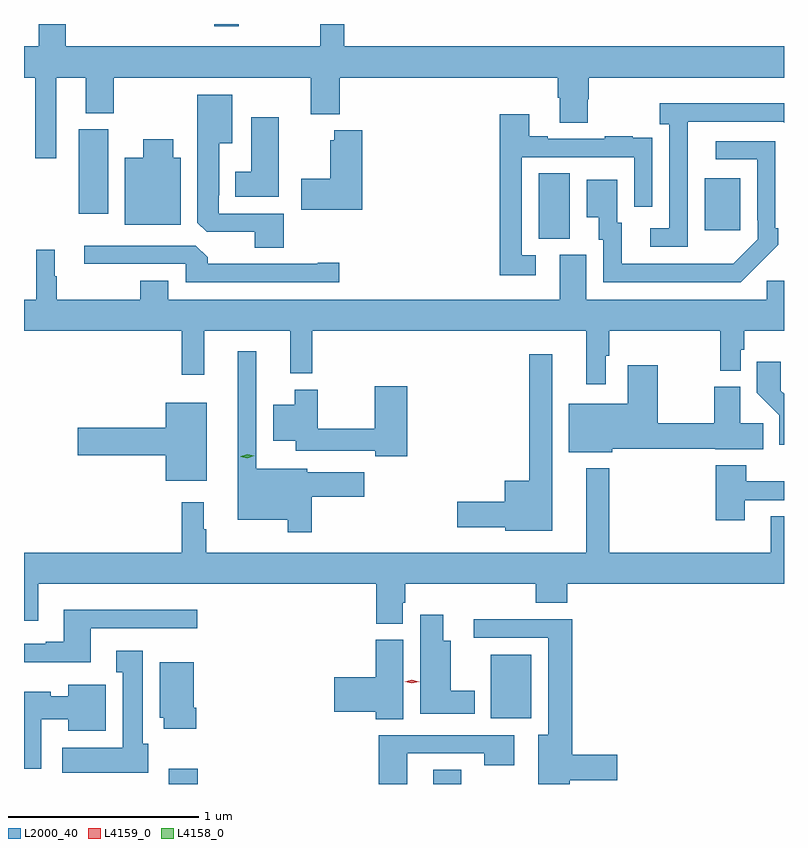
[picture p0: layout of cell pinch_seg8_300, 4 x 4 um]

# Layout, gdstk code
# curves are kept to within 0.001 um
import gdstk
lib = gdstk.Library(unit=1e-6, precision=1e-09)
def R(c, l, rs):  # rectangles x0, y0, x1, y1
    for r in rs: c.add(gdstk.rectangle(r[:2], r[2:], *l))
def P(c, l, *ps):  # polygons
    for p in ps: c.add(gdstk.Polygon(p, *l))
L2000_40 = (2000, 40)
L4158_0 = (4158, 0)
L4159_0 = (4159, 0)

pinch_seg8_300 = lib.new_cell('pinch_seg8_300')
R(pinch_seg8_300, L2000_40, [(514.799,1144.75,514.952,1144.831), (516.191,1144.75,516.339,1144.826), (516.494,1145.096,516.706,1145.431), (516.746,1147.621,516.91,1147.964), (517.619,1147.665,517.807,1147.939), (514.325,1147.752,514.48,1148.196), (515.038,1148.739,515.167,1148.75)])
P(pinch_seg8_300, L2000_40, [(514.207,1148.468),(514.361,1148.468),(514.361,1148.281),(514.509,1148.281),(514.509,1148.468),(515.546,1148.468),(515.546,1148.276),(515.699,1148.276),(515.699,1148.468),(516.845,1148.468),(516.845,1148.362),(516.857,1148.362),(516.857,1148.23),(517.005,1148.23),(517.005,1148.355),(517.01,1148.355),(517.01,1148.468),(518.037,1148.468),(518.037,1148.632),(515.723,1148.632),(515.723,1148.75),(515.595,1148.75),(515.595,1148.632),(514.256,1148.632),(514.256,1148.75),(514.115,1148.75),(514.115,1148.632),(514.037,1148.632),(514.037,1148.468),(514.097,1148.468),(514.097,1148.043),(514.207,1148.043)],
  [(515.405,1147.752),(515.061,1147.752),(515.061,1147.849),(515.065,1147.849),(515.065,1148.123),(515.134,1148.123),(515.134,1148.377),(514.949,1148.377),(514.949,1147.705),(514.998,1147.656),(515.252,1147.656),(515.252,1147.573),(515.405,1147.573)],
  [(517.53,1148.035),(517.531,1148.235),(518.031,1148.235),(518.037,1148.229),(518.037,1148.332),(517.383,1148.332),(517.383,1148.222),(517.434,1148.222),(517.434,1147.674),(517.332,1147.674),(517.332,1147.578),(517.53,1147.578)],
  [(516.73,1147.533),(516.657,1147.533),(516.657,1148.049),(517.248,1148.049),(517.248,1147.788),(517.344,1147.788),(517.344,1148.042),(517.343,1148.042),(517.343,1148.151),(517.241,1148.151),(517.241,1148.158),(517.093,1148.158),(517.093,1148.145),(516.793,1148.145),(516.793,1148.158),(516.697,1148.158),(516.697,1148.275),(516.541,1148.275),(516.541,1147.428),(516.73,1147.428)],
  [(515.377,1148.26),(515.234,1148.26),(515.234,1147.972),(515.15,1147.972),(515.15,1147.841),(515.377,1147.841)],
  [(515.816,1148.191),(515.671,1148.191),(515.671,1148.137),(515.648,1148.137),(515.648,1147.935),(515.496,1147.935),(515.496,1147.772),(515.816,1147.772)],
  [(514.861,1148.047),(514.822,1148.047),(514.822,1148.143),(514.664,1148.143),(514.664,1148.047),(514.568,1148.047),(514.568,1147.694),(514.861,1147.694)],
  [(517.901,1147.483),(517.902,1147.482),(518.007,1147.587),(518.007,1147.675),(517.992,1147.675),(517.992,1148.133),(517.677,1148.133),(517.677,1148.037),(517.896,1148.037),(517.896,1147.717),(517.899,1147.717),(517.899,1147.617),(517.77,1147.489),(517.183,1147.488),(517.183,1147.704),(517.159,1147.704),(517.159,1147.93),(516.998,1147.93),(516.998,1147.733),(517.061,1147.733),(517.061,1147.614),(517.086,1147.614),(517.086,1147.392),(517.81,1147.392)],
  [(515.695,1147.493),(515.582,1147.493),(515.582,1147.488),(515.003,1147.488),(515.003,1147.522),(514.941,1147.584),(514.353,1147.584),(514.353,1147.488),(514.887,1147.488),(514.887,1147.392),(515.695,1147.392)],
  [(517.099,1147.004),(517.117,1147.004),(517.117,1147.136),(517.701,1147.136),(517.701,1146.926),(517.809,1146.926),(517.809,1147.035),(517.829,1147.035),(517.829,1147.136),(518.037,1147.136),(518.037,1147.398),(517.947,1147.398),(517.947,1147.3),(516.997,1147.3),(516.997,1147.536),(516.857,1147.536),(516.857,1147.3),(514.795,1147.3),(514.795,1147.399),(514.648,1147.399),(514.648,1147.3),(514.21,1147.3),(514.21,1147.422),(514.198,1147.422),(514.198,1147.561),(514.101,1147.561),(514.101,1147.3),(514.037,1147.3),(514.037,1147.136),(514.867,1147.136),(514.867,1146.903),(514.985,1146.903),(514.985,1147.136),(515.438,1147.136),(515.438,1146.911),(515.555,1146.911),(515.555,1147.136),(516.995,1147.136),(516.995,1146.855),(517.099,1146.855)],
  [(515.552,1146.262),(515.827,1146.262),(515.827,1146.391),(515.529,1146.391),(515.529,1146.409),(515.259,1146.409),(515.259,1147.027),(515.162,1147.027),(515.162,1146.14),(515.424,1146.14),(515.424,1146.075),(515.552,1146.075)],
  [(516.817,1147.012),(516.696,1147.012),(516.696,1146.346),(516.566,1146.346),(516.566,1146.236),(516.318,1146.236),(516.318,1146.101),(516.57,1146.101),(516.57,1146.083),(516.817,1146.083)],
  [(518.037,1146.804),(518.02,1146.821),(518.02,1146.973),(517.894,1146.973),(517.894,1146.81),(518.013,1146.691),(518.013,1146.536),(518.037,1146.536)],
  [(517.132,1146.514),(517.674,1146.514),(517.674,1146.512),(517.928,1146.512),(517.928,1146.65),(517.807,1146.65),(517.807,1146.841),(517.67,1146.841),(517.67,1146.65),(517.372,1146.65),(517.372,1146.955),(517.214,1146.955),(517.214,1146.751),(516.905,1146.751),(516.905,1146.497),(517.132,1146.497)],
  [(516.053,1146.844),(515.882,1146.844),(515.882,1146.62),(515.584,1146.62),(515.584,1146.826),(515.462,1146.826),(515.462,1146.745),(515.348,1146.745),(515.348,1146.557),(515.468,1146.557),(515.468,1146.504),(515.886,1146.504),(515.886,1146.476),(516.053,1146.476)],
  [(514.999,1146.757),(514.784,1146.757),(514.784,1146.626),(514.32,1146.626),(514.32,1146.479),(514.784,1146.479),(514.784,1146.347),(514.999,1146.347)],
  [(517.831,1146.243),(518.037,1146.243),(518.037,1146.343),(517.839,1146.343),(517.839,1146.427),(517.679,1146.427),(517.679,1146.138),(517.831,1146.138)],
  [(516.031,1145.703),(516.044,1145.703),(516.044,1145.804),(516.731,1145.804),(516.731,1145.705),(516.895,1145.705),(516.895,1145.804),(518.037,1145.804),(518.037,1146.158),(517.967,1146.158),(517.967,1145.968),(517.117,1145.968),(517.117,1146.412),(516.995,1146.412),(516.995,1145.968),(514.996,1145.968),(514.996,1146.092),(514.984,1146.092),(514.984,1146.232),(514.867,1146.232),(514.867,1145.968),(514.037,1145.968),(514.037,1145.61),(514.111,1145.61),(514.111,1145.804),(515.891,1145.804),(515.891,1145.593),(516.031,1145.593)],
  [(514.387,1145.571),(514.948,1145.571),(514.948,1145.668),(514.247,1145.668),(514.247,1145.5),(514.151,1145.5),(514.151,1145.487),(514.037,1145.487),(514.037,1145.39),(514.387,1145.39)],
  [(516.409,1145.242),(516.283,1145.242),(516.283,1145.503),(516.244,1145.503),(516.244,1145.641),(516.122,1145.641),(516.122,1145.12),(516.409,1145.12)],
  [(516.91,1144.769),(517.159,1144.769),(517.159,1144.904),(516.923,1144.904),(516.923,1145.618),(516.405,1145.618),(516.405,1145.52),(516.797,1145.52),(516.797,1145.008),(516.743,1145.008),(516.743,1144.75),(516.91,1144.75)],
  [(516.034,1145.508),(515.888,1145.508),(515.888,1145.312),(515.67,1145.312),(515.67,1145.129),(515.888,1145.129),(515.888,1145.092),(516.034,1145.092)],
  [(514.69,1144.962),(514.663,1144.962),(514.663,1145.452),(514.523,1145.452),(514.523,1145.339),(514.556,1145.339),(514.556,1144.942),(514.239,1144.942),(514.239,1144.808),(514.69,1144.808)],
  [(514.943,1145.152),(514.93,1145.152),(514.93,1145.392),(514.751,1145.392),(514.751,1145.1),(514.772,1145.1),(514.772,1145.04),(514.943,1145.04)],
  [(514.129,1145.09),(514.271,1145.09),(514.271,1145.03),(514.468,1145.03),(514.468,1145.272),(514.271,1145.272),(514.271,1145.212),(514.179,1145.212),(514.179,1145.236),(514.037,1145.236),(514.037,1144.83),(514.129,1144.83)],
  [(516.055,1144.911),(516.46,1144.911),(516.46,1144.848),(516.616,1144.848),(516.616,1145.007),(515.903,1145.007),(515.903,1144.75),(516.055,1144.75)])
P(pinch_seg8_300, L4158_0, [(515.213,1146.465),(515.177,1146.473),(515.177,1146.474),(515.177,1146.474),(515.212,1146.485),(515.248,1146.477),(515.249,1146.477),(515.248,1146.477)])
P(pinch_seg8_300, L4159_0, [(516.079,1145.279),(516.04,1145.289),(516.04,1145.289),(516.04,1145.289),(516.079,1145.299),(516.118,1145.289),(516.118,1145.289),(516.118,1145.289)])

lib.write_gds('pinch_seg8_300.gds')
